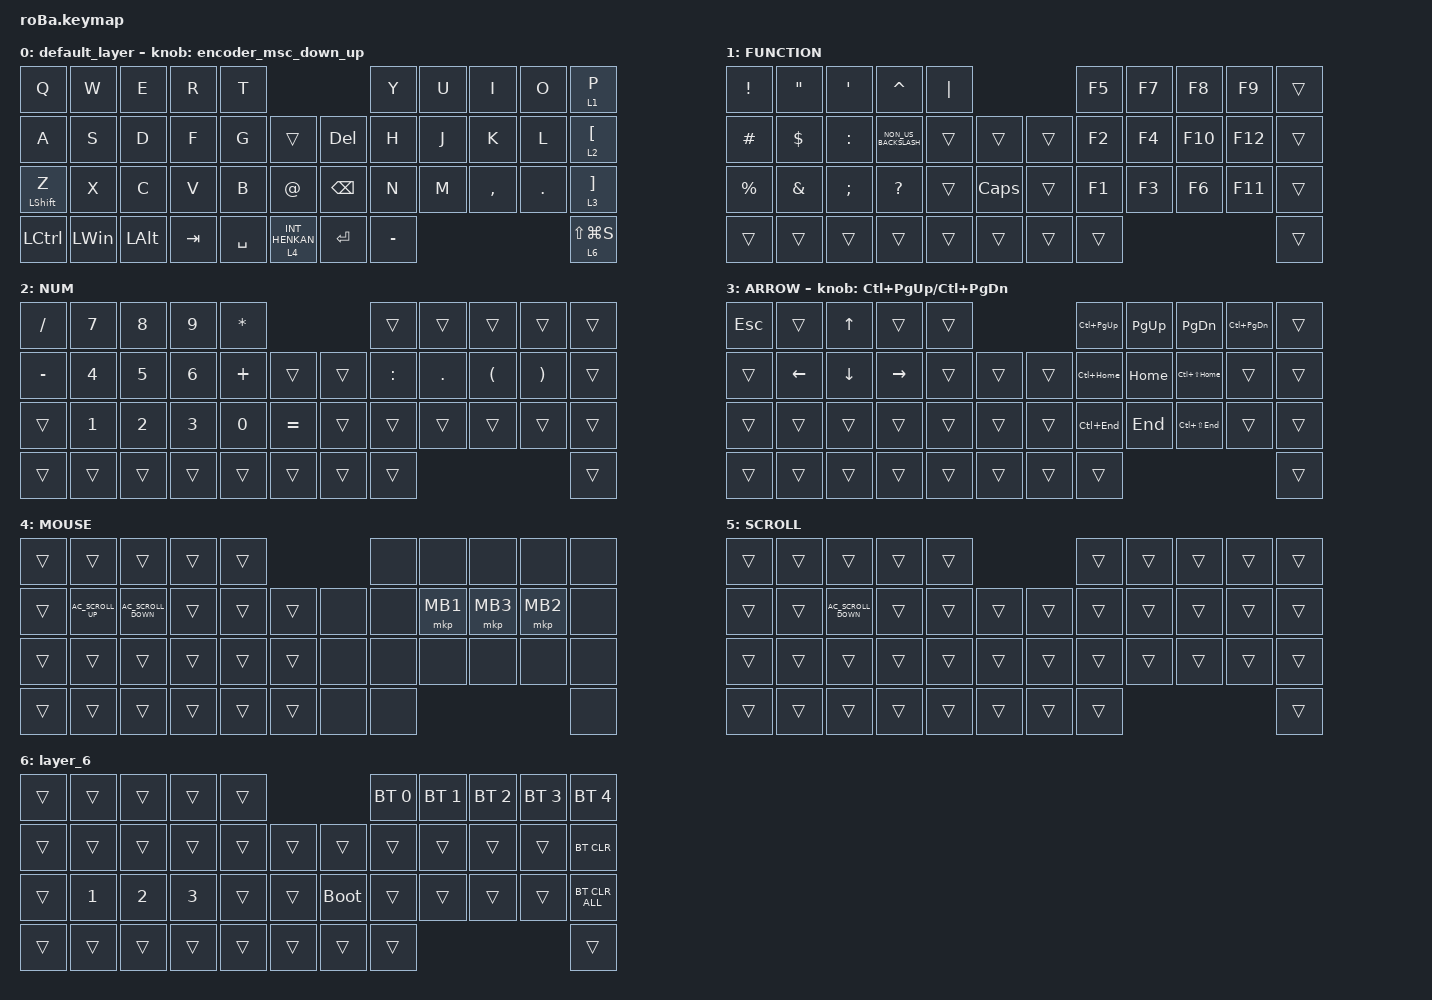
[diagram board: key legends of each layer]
#include <behaviors.dtsi>
#include <dt-bindings/zmk/bt.h>
#include <dt-bindings/zmk/keys.h>
#include <dt-bindings/zmk/pointing.h>

#define ZMK_POINTING_DEFAULT_SCRL_VAL 80

&mt {
    flavor = "balanced";
    quick-tap-ms = <0>;
};

&trackball {
    automouse-layer = <4>;
    scroll-layers = <5>;

    // arrows {
    //     layers = <3>;
    //     bindings =
    //         <&kp RIGHT_ARROW>,
    //         <&kp LEFT_ARROW>,
    //         <&kp UP_ARROW>,
    //         <&kp DOWN_ARROW>;
    //     tick = <10>;
    //     wait-ms = <5>;
    //     tap-ms = <5>;
    // };
};

/ {
    combos { compatible = "zmk,combos"; };

    macros {
        to_layer_0: to_layer_0 {
            compatible = "zmk,behavior-macro-one-param";
            #binding-cells = <1>;
            bindings = <&to 0 &macro_param_1to1 &kp MACRO_PLACEHOLDER>;
            label = "TO_LAYER_0";
        };
    };

    behaviors {
        encoder_msc_down_up: encoder_msc_down_up {
            compatible = "zmk,behavior-sensor-rotate";
            label = "ENCODER_MSC_DOWN_UP";
            #sensor-binding-cells = <0>;
            bindings = <&msc SCRL_DOWN>, <&msc SCRL_UP>;

            tap-ms = <20>;
        };

        lt_to_layer_0: lt_to_layer_0 {
            compatible = "zmk,behavior-hold-tap";
            label = "LAYER_TAP_TO_0";
            bindings = <&mo>, <&to_layer_0>;

            #binding-cells = <2>;
            tapping-term-ms = <200>;
        };
    };

    keymap {
        compatible = "zmk,keymap";

        default_layer {
            bindings = <
&kp Q             &kp W         &kp E         &kp R    &kp T                                           &kp Y      &kp U  &kp I      &kp O       &lt 1 P
&kp A             &kp S         &kp D         &kp F    &kp G      &trans                &kp DEL        &kp H      &kp J  &kp K      &kp L       &lt 2 LEFT_BRACKET
&mt LEFT_SHIFT Z  &kp X         &kp C         &kp V    &kp B      &kp AT_SIGN           &kp BACKSPACE  &kp N      &kp M  &kp COMMA  &kp PERIOD  &lt 3 RIGHT_BRACKET
&kp LCTRL         &kp LEFT_WIN  &kp LEFT_ALT  &kp TAB  &kp SPACE  &lt 4 INT_HENKAN      &kp ENTER      &kp MINUS                                &lt 6 LS(LG(S))
            >;

            sensor-bindings = <&encoder_msc_down_up>;
        };

        FUNCTION {
            bindings = <
&kp EXCLAMATION  &kp DOUBLE_QUOTES  &kp SQT        &kp CARET             &kp PIPE                            &kp F5  &kp F7  &kp F8   &kp F9   &trans
&kp HASH         &kp DOLLAR         &kp COLON      &kp NON_US_BACKSLASH  &trans    &trans            &trans  &kp F2  &kp F4  &kp F10  &kp F12  &trans
&kp PERCENT      &kp AMPERSAND      &kp SEMICOLON  &kp QUESTION          &trans    &kp CAPSLOCK      &trans  &kp F1  &kp F3  &kp F6   &kp F11  &trans
&trans           &trans             &trans         &trans                &trans    &trans            &trans  &trans                            &trans
            >;
        };

        NUM {
            bindings = <
&kp SLASH  &kp N7        &kp N8        &kp N9        &kp ASTERISK                         &trans     &trans      &trans                &trans                 &trans
&kp MINUS  &kp NUMBER_4  &kp N5        &kp NUMBER_6  &kp PLUS      &trans         &trans  &kp COLON  &kp PERIOD  &kp LEFT_PARENTHESIS  &kp RIGHT_PARENTHESIS  &trans
&trans     &kp NUMBER_1  &kp NUMBER_2  &kp NUMBER_3  &kp N0        &kp EQUAL      &trans  &trans     &trans      &trans                &trans                 &trans
&trans     &trans        &trans        &trans        &trans        &trans         &trans  &trans                                                              &trans
            >;
        };

        ARROW {
            bindings = <
&kp ESCAPE  &trans          &kp UP_ARROW    &trans           &trans                      &kp LC(PAGE_UP)  &kp PAGE_UP  &kp PAGE_DOWN     &kp LC(PAGE_DOWN)  &trans
&trans      &kp LEFT_ARROW  &kp DOWN_ARROW  &kp RIGHT_ARROW  &trans  &trans      &trans  &kp LC(HOME)     &kp HOME     &kp LC(LS(HOME))  &trans             &trans
&trans      &trans          &trans          &trans           &trans  &trans      &trans  &kp LC(END)      &kp END      &kp LC(LS(END))   &trans             &trans
&trans      &trans          &trans          &trans           &trans  &trans      &trans  &trans                                                             &trans
            >;

            sensor-bindings = <&inc_dec_kp LC(PAGE_UP) LC(PAGE_DOWN)>;
        };

        MOUSE {
            bindings = <
&trans  &trans              &trans                &trans  &trans                     &none  &none     &none     &none     &none
&trans  &kp C_AC_SCROLL_UP  &kp C_AC_SCROLL_DOWN  &trans  &trans  &trans      &none  &none  &mkp MB1  &mkp MB3  &mkp MB2  &none
&trans  &trans              &trans                &trans  &trans  &trans      &none  &none  &none     &none     &none     &none
&trans  &trans              &trans                &trans  &trans  &trans      &none  &none                                &none
            >;
        };

        SCROLL {
            bindings = <
&trans  &trans  &trans                &trans  &trans                      &trans  &trans  &trans  &trans  &trans
&trans  &trans  &kp C_AC_SCROLL_DOWN  &trans  &trans  &trans      &trans  &trans  &trans  &trans  &trans  &trans
&trans  &trans  &trans                &trans  &trans  &trans      &trans  &trans  &trans  &trans  &trans  &trans
&trans  &trans  &trans                &trans  &trans  &trans      &trans  &trans                          &trans
            >;
        };

        layer_6 {
            bindings = <
&trans  &trans        &trans        &trans        &trans                           &bt BT_SEL 0  &bt BT_SEL 1  &bt BT_SEL 2  &bt BT_SEL 3  &bt BT_SEL 4
&trans  &trans        &trans        &trans        &trans  &trans      &trans       &trans        &trans        &trans        &trans        &bt BT_CLR
&trans  &kp NUMBER_1  &kp NUMBER_2  &kp NUMBER_3  &trans  &trans      &bootloader  &trans        &trans        &trans        &trans        &bt BT_CLR_ALL
&trans  &trans        &trans        &trans        &trans  &trans      &trans       &trans                                                  &trans
            >;
        };
    };
};
